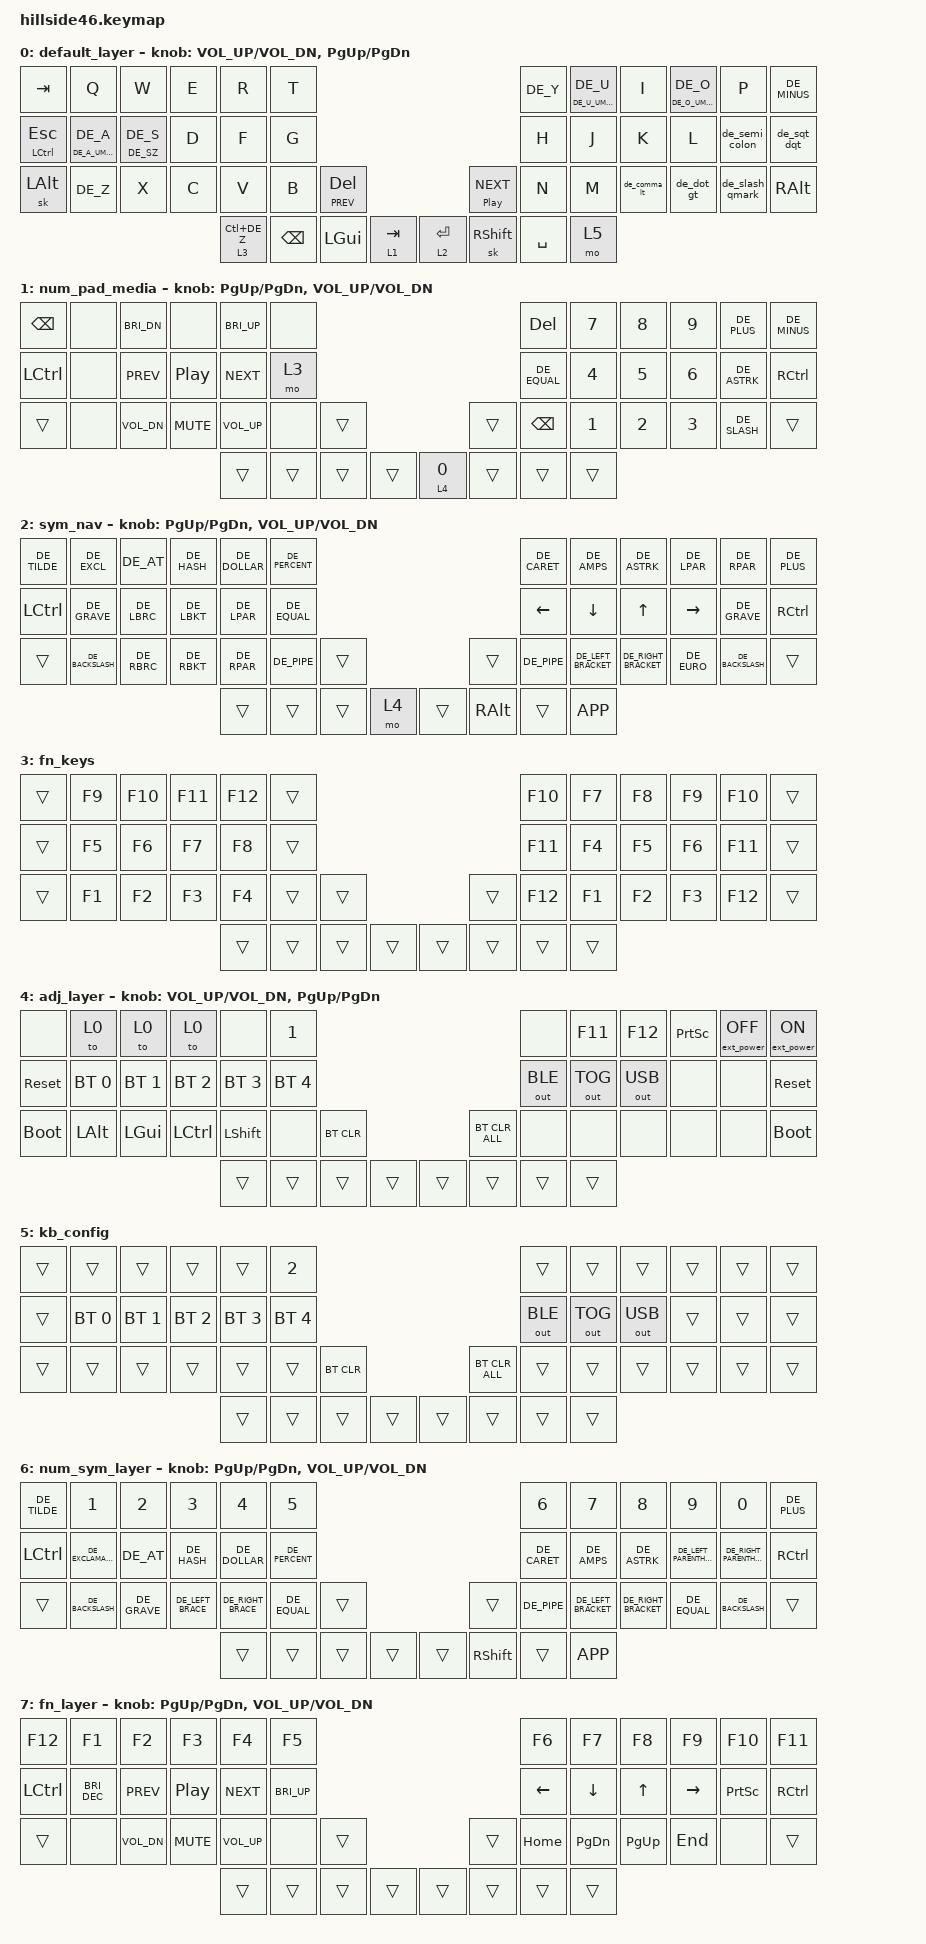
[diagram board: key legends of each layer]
/*
 * Copyright (c) 2021-2022 The ZMK Contributors
 *
 * SPDX-License-Identifier: MIT
 */

#include <behaviors.dtsi>
#include <dt-bindings/zmk/bt.h>
#include <dt-bindings/zmk/ext_power.h>
#include <dt-bindings/zmk/keys.h>
#include <dt-bindings/zmk/outputs.h>
#include "keys_de.h"

#define QWERTY_L 0
#define DVORAK_L 1
#define COLEMK_L 2
#define NAV_L    3
#define SYM_L    4
#define ADJ_L    5
#define Undo   LC(DE_Z)
#define Cut    LC(X)
#define Copy   LC(C)
#define Paste  LC(V)
#define Redo   LC(DE_Y)

/ {
    behaviors {
        /* Re-tapping within this window after a tap always repeats the tap,
         * so holding the thumb keys for auto-repeat (GUI/BACKSPACE, TAB, ENTER)
         * works instead of triggering the hold behavior. Only applied to these
         * thumb-key variants, not the global &mt/&lt, so home-row CTRL/ESC etc.
         * keep the normal tap-hold decision.
         */

        mt_qt: mod_tap_quick_tap {
            compatible = "zmk,behavior-hold-tap";
            #binding-cells = <2>;
            flavor = "hold-preferred";
            tapping-term-ms = <200>;
            quick-tap-ms = <250>;
            bindings = <&kp>, <&kp>;
        };

        uml_qt: umlaut_quick_tap {
            compatible = "zmk,behavior-hold-tap";
            #binding-cells = <2>;
            flavor = "tap-preferred";
            tapping-term-ms = <200>;
            quick-tap-ms = <250>;
            require-prior-idle-ms = <200>;
            bindings = <&kp>, <&kp>;
        };

        lt_qt: layer_tap_quick_tap {
            compatible = "zmk,behavior-hold-tap";
            #binding-cells = <2>;
            flavor = "tap-preferred";
            tapping-term-ms = <200>;
            quick-tap-ms = <250>;
            bindings = <&mo>, <&kp>;
        };

        /* /, ; and ' already bake in Shift on a German layout, so a plain
         * &kp can't tell when Shift is also really held. */

        de_slash_qmark: mod_morph_de_slash_question {
            compatible = "zmk,behavior-mod-morph";
            #binding-cells = <0>;
            bindings = <&kp DE_SLASH>, <&kp DE_QUESTION>;

            mods = <(MOD_LSFT|MOD_RSFT)>;
        };

        de_semi_colon: mod_morph_de_semi_colon {
            compatible = "zmk,behavior-mod-morph";
            #binding-cells = <0>;
            bindings = <&kp DE_SEMI>, <&kp DE_COLON>;

            mods = <(MOD_LSFT|MOD_RSFT)>;
        };

        de_sqt_dqt: mod_morph_de_sqt_dqt {
            compatible = "zmk,behavior-mod-morph";
            #binding-cells = <0>;
            bindings = <&kp DE_SQT>, <&kp DE_DOUBLE_QUOTES>;

            mods = <(MOD_LSFT|MOD_RSFT)>;
        };

        de_comma_lt: mod_morph_de_comma_lt {
            compatible = "zmk,behavior-mod-morph";
            #binding-cells = <0>;
            bindings = <&kp COMMA>, <&kp DE_LESS_THAN>;

            mods = <(MOD_LSFT|MOD_RSFT)>;
        };

        de_dot_gt: mod_morph_de_dot_gt {
            compatible = "zmk,behavior-mod-morph";
            #binding-cells = <0>;
            bindings = <&kp DOT>, <&kp DE_GREATER_THAN>;

            mods = <(MOD_LSFT|MOD_RSFT)>;
        };
    };

    combos {
        compatible = "zmk,combos";

        lshift {
            bindings = <&kp LSHIFT>;
            key-positions = <15 16>;
        };

        rshift {
            bindings = <&kp RSHFT>;
            key-positions = <19 20>;
        };

        caps_lock {
            bindings = <&caps_word>;
            key-positions = <16 19>;
        };

        ctrl_on_sym_num {
            bindings = <&kp RCTRL>;
            key-positions = <41 23>;
        };
    };

    keymap {
        compatible = "zmk,keymap";

        default_layer {
            /* QWERTY
 * -------------------------------------------------------------------------------------------------------------------------------------
 * | `     |   Q   |   W   |   E   |   R   |   T   |-----------------------------------|   Y   |   U   |   I   |   O   |   P   | BKSPC |
 * | TAB   |   A   |   S   |   D   |   F   |   G   |-----------------------------------|   H   |   J   |   K   |   L   |   ;   | ENTER |
 * | CTRL  |   Z   |   X   |   C   |   V   |   B   |  ESC  |-------------------|  CAPS |   N   |   M   |   ,   |   .   |   /   |   '   |
 *                                 |  GUI  |  ALT  |SK SHFT|  Nav  |---|  Sym  | SPACE |  ALT  |  GUI  |
 */

            bindings = <
&kp TAB               &kp Q                     &kp W               &kp E  &kp R           &kp T                                                                                   &kp DE_Y   &uml_qt DE_U_UMLAUT DE_U  &kp I         &uml_qt DE_O_UMLAUT DE_O  &kp P            &kp DE_MINUS
&mt LEFT_CONTROL ESC  &uml_qt DE_A_UMLAUT DE_A  &uml_qt DE_SZ DE_S  &kp D  &kp F           &kp G                                                                                   &kp H      &kp J                     &kp K         &kp L                     &de_semi_colon   &de_sqt_dqt
&sk LALT              &kp DE_Z                  &kp X               &kp C  &kp V           &kp B          &mt C_PREV DEL                                  &mt C_PLAY_PAUSE C_NEXT  &kp N      &kp M                     &de_comma_lt  &de_dot_gt                &de_slash_qmark  &kp RALT
                                                                           &lt 3 LC(DE_Z)  &kp BACKSPACE  &kp LEFT_GUI    &lt_qt 1 TAB    &lt_qt 2 ENTER  &sk RSHIFT               &kp SPACE  &mo 5
            >;

            sensor-bindings = <&inc_dec_kp C_VOL_UP C_VOL_DN &inc_dec_kp PG_UP PG_DN>;
        };

        num_pad_media {
            bindings = <
&kp BACKSPACE  &none  &kp C_BRI_DN  &none       &kp C_BRI_UP  &none                                          &kp DEL        &kp N7  &kp N8  &kp N9  &kp DE_PLUS   &kp DE_MINUS
&kp LCTRL      &none  &kp C_PREV    &kp C_PP    &kp C_NEXT    &mo 3                                          &kp DE_EQUAL   &kp N4  &kp N5  &kp N6  &kp DE_ASTRK  &kp RCTRL
&trans         &none  &kp C_VOL_DN  &kp C_MUTE  &kp C_VOL_UP  &none   &trans                         &trans  &kp BACKSPACE  &kp N1  &kp N2  &kp N3  &kp DE_SLASH  &trans
                                                &trans        &trans  &trans  &trans    &lt_qt 4 N0  &trans  &trans         &trans
            >;

            sensor-bindings =
                <&inc_dec_kp PG_UP PG_DN>,
                <&inc_dec_kp C_VOL_UP C_VOL_DN>;
        };

        sym_nav {
            bindings = <
&kp DE_TILDE  &kp DE_EXCL       &kp DE_AT    &kp DE_HASH  &kp DE_DOLLAR  &kp DE_PERCENT                                          &kp DE_CARET  &kp DE_AMPS          &kp DE_ASTRK          &kp DE_LPAR  &kp DE_RPAR       &kp DE_PLUS
&kp LCTRL     &kp DE_GRAVE      &kp DE_LBRC  &kp DE_LBKT  &kp DE_LPAR    &kp DE_EQUAL                                            &kp LEFT      &kp DOWN             &kp UP                &kp RIGHT    &kp DE_GRAVE      &kp RCTRL
&trans        &kp DE_BACKSLASH  &kp DE_RBRC  &kp DE_RBKT  &kp DE_RPAR    &kp DE_PIPE     &trans                   &trans         &kp DE_PIPE   &kp DE_LEFT_BRACKET  &kp DE_RIGHT_BRACKET  &kp DE_EURO  &kp DE_BACKSLASH  &trans
                                                          &trans         &trans          &trans  &mo 4    &trans  &kp RIGHT_ALT  &trans        &kp K_APP
            >;

            sensor-bindings =
                <&inc_dec_kp PG_UP PG_DN>,
                <&inc_dec_kp C_VOL_UP C_VOL_DN>;
        };

        fn_keys {
            bindings = <
&trans  &kp F9  &kp F10  &kp F11  &kp F12  &trans                                    &kp F10  &kp F7  &kp F8  &kp F9  &kp F10  &trans
&trans  &kp F5  &kp F6   &kp F7   &kp F8   &trans                                    &kp F11  &kp F4  &kp F5  &kp F6  &kp F11  &trans
&trans  &kp F1  &kp F2   &kp F3   &kp F4   &trans  &trans                    &trans  &kp F12  &kp F1  &kp F2  &kp F3  &kp F12  &trans
                                  &trans   &trans  &trans  &trans    &trans  &trans  &trans   &trans
            >;
        };

        adj_layer {
            /* ADJUST
 * -------------------------------------------------------------------------------------------------------------------------------------
 * |       | QWERTY| DVORAK| COLEMK|       |       |-----------------------------------|       |  F11  |  F12  |Prt Scr|EP_OFF | EP_ON |
 * | RESET | BT 0  | BT 1  | BT 2  | BT 3  | BT 4  |-----------------------------------|       |       |       |       |       | RESET |
 * |       | LALT  | LGUI  | LCTRL | LSHIFT|       |BT CLR |-------------------|       |       |       |OUT_USB|OUT_BLE|       | BOOTL |
 *                                 |       |       |       |       |---|       |       |       |       |
 */

            bindings = <
&none        &to 0         &to 0         &to 0         &none         &kp N1                                                      &none         &kp F11       &kp F12       &kp PRINTSCREEN  &ext_power EP_OFF  &ext_power EP_ON
&sys_reset   &bt BT_SEL 0  &bt BT_SEL 1  &bt BT_SEL 2  &bt BT_SEL 3  &bt BT_SEL 4                                                &out OUT_BLE  &out OUT_TOG  &out OUT_USB  &none            &none              &sys_reset
&bootloader  &kp LALT      &kp LGUI      &kp LCTRL     &kp LSHIFT    &none         &bt BT_CLR                    &bt BT_CLR_ALL  &none         &none         &none         &none            &none              &bootloader
                                                       &trans        &trans        &trans      &trans    &trans  &trans          &trans        &trans
            >;

            sensor-bindings = <&inc_dec_kp C_VOL_UP C_VOL_DN &inc_dec_kp PG_UP PG_DN>;
        };

        kb_config {
            bindings = <
&trans  &trans        &trans        &trans        &trans        &kp N2                                                      &trans        &trans        &trans        &trans  &trans  &trans
&trans  &bt BT_SEL 0  &bt BT_SEL 1  &bt BT_SEL 2  &bt BT_SEL 3  &bt BT_SEL 4                                                &out OUT_BLE  &out OUT_TOG  &out OUT_USB  &trans  &trans  &trans
&trans  &trans        &trans        &trans        &trans        &trans        &bt BT_CLR                    &bt BT_CLR_ALL  &trans        &trans        &trans        &trans  &trans  &trans
                                                  &trans        &trans        &trans      &trans    &trans  &trans          &trans        &trans
            >;
        };

        num_sym_layer {
            bindings = <
&kp DE_TILDE  &kp N1              &kp N2        &kp N3             &kp N4              &kp N5                                                &kp N6        &kp N7               &kp N8                &kp N9                   &kp N0                    &kp DE_PLUS
&kp LCTRL     &kp DE_EXCLAMATION  &kp DE_AT     &kp DE_HASH        &kp DE_DOLLAR       &kp DE_PERCENT                                        &kp DE_CARET  &kp DE_AMPS          &kp DE_ASTRK          &kp DE_LEFT_PARENTHESIS  &kp DE_RIGHT_PARENTHESIS  &kp RCTRL
&trans        &kp DE_BACKSLASH    &kp DE_GRAVE  &kp DE_LEFT_BRACE  &kp DE_RIGHT_BRACE  &kp DE_EQUAL    &trans                    &trans      &kp DE_PIPE   &kp DE_LEFT_BRACKET  &kp DE_RIGHT_BRACKET  &kp DE_EQUAL             &kp DE_BACKSLASH          &trans
                                                                   &trans              &trans          &trans  &trans    &trans  &kp RSHIFT  &trans        &kp K_APP
            >;

            sensor-bindings =
                <&inc_dec_kp PG_UP PG_DN>,
                <&inc_dec_kp C_VOL_UP C_VOL_DN>;
        };

        fn_layer {
            /* NAV   
 * -------------------------------------------------------------------------------------------------------------------------------------
 * | Copy  |   1   |   2   |   3   |   4   |   5   |-----------------------------------|   6   |   7   |   8   |   9   |   0   | BSPC  |
 * | Cut   |  GUI  |  Alt  | Ctrl  | Shift | Paste |-----------------------------------| PG UP |  Left |  Up   |  Down | Right | PG DN |
 * | Ctrl  |  F1   |  F2   |  F3   |  F4   |  F5   |  UnDo |-------------------| ReDo  |  F6   |  F7   |  F8   |  F9   |  F10  | Ctrl  |
 *                                 |       |       |       |       |---| ADJ_L |       |       |       |
 */

            bindings = <
&kp F12    &kp F1         &kp F2        &kp F3      &kp F4        &kp F5                                          &kp F6    &kp F7     &kp F8     &kp F9     &kp F10          &kp F11
&kp LCTRL  &kp C_BRI_DEC  &kp C_PREV    &kp C_PP    &kp C_NEXT    &kp C_BRI_UP                                    &kp LEFT  &kp DOWN   &kp UP     &kp RIGHT  &kp PRINTSCREEN  &kp RCTRL
&trans     &none          &kp C_VOL_DN  &kp C_MUTE  &kp C_VOL_UP  &none         &trans                    &trans  &kp HOME  &kp PG_DN  &kp PG_UP  &kp END    &none            &trans
                                                    &trans        &trans        &trans  &trans    &trans  &trans  &trans    &trans
            >;

            sensor-bindings = <&inc_dec_kp PG_UP PG_DN &inc_dec_kp C_VOL_UP C_VOL_DN>;
        };
    };

    conditional_layers {
        compatible = "zmk,conditional-layers";

        adj_layer {
            if-layers = <1 2>;
            then-layer = <5>;
        };
    };
};
